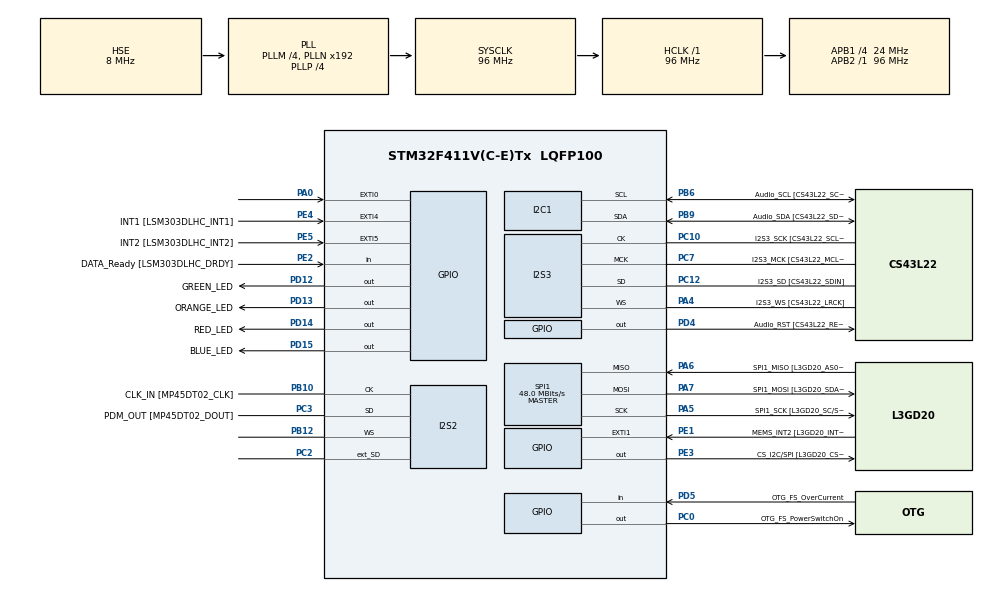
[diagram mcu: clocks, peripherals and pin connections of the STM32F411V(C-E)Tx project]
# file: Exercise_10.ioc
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FREERTOS.BinarySemaphores01=CriticalResourceSemaphore,Dynamic,NULL
FREERTOS.Tasks01=GREEN_LED,0,128,Start_GREEN_LED,Default,NULL,Dynamic,NULL,NULL;RED_LED,0,128,Start_RED_LED,Default,NULL,Dynamic,NULL,NULL;ORANGE_LED,1,128,Start_ORANGE_LED,Default,NULL,Dynamic,NULL,NULL
I2S2.AudioFreq=I2S_AUDIOFREQ_96K
I2S2.ErrorAudioFreq=0.15 %
I2S2.FullDuplexMode=I2S_FULLDUPLEXMODE_ENABLE
I2S2.Instance=SPI$Index
I2S2.RealAudioFreq=96.153 KHz
I2S2.VirtualMode=I2S_MODE_MASTER
I2S3.AudioFreq=I2S_AUDIOFREQ_96K
I2S3.ErrorAudioFreq=-6.99 %
I2S3.FullDuplexMode=I2S_FULLDUPLEXMODE_DISABLE
I2S3.Instance=SPI$Index
I2S3.RealAudioFreq=89.285 KHz
I2S3.VirtualMode=I2S_MODE_MASTER
Mcu.Family=STM32F4
Mcu.Name=STM32F411V(C-E)Tx
Mcu.Package=LQFP100
NVIC.PriorityGroup=NVIC_PRIORITYGROUP_4
NVIC.TIM1_UP_TIM10_IRQn=true\:0\:0\:false\:false\:true\:false\:false\:true
NVIC.TimeBase=TIM1_UP_TIM10_IRQn
NVIC.TimeBaseIP=TIM1
PA0-WKUP.GPIO_ModeDefaultEXTI=GPIO_MODE_EVT_RISING
PA0-WKUP.Signal=GPXTI0
PA10.GPIO_Label=OTG_FS_ID
PA10.Signal=USB_OTG_FS_ID
PA11.GPIO_Label=OTG_FS_DM
PA11.Signal=USB_OTG_FS_DM
PA12.GPIO_Label=OTG_FS_DP
PA12.Signal=USB_OTG_FS_DP
PA13.GPIO_Label=SWDIO
PA13.Mode=Serial_Wire
PA13.Signal=SYS_JTMS-SWDIO
PA14.GPIO_Label=SWCLK
PA14.Mode=Serial_Wire
PA14.Signal=SYS_JTCK-SWCLK
PA4.GPIO_Label=I2S3_WS [CS43L22_LRCK]
PA4.GPIO_Mode=GPIO_MODE_AF_PP
PA4.GPIO_PuPd=GPIO_NOPULL
PA4.GPIO_Speed=GPIO_SPEED_FREQ_LOW
PA4.Mode=Half_Duplex_Master
PA4.Signal=I2S3_WS
PA5.GPIO_Label=SPI1_SCK [L3GD20_SC/SPC]
PA5.Mode=Full_Duplex_Master
PA5.Signal=SPI1_SCK
PA6.GPIO_Label=SPI1_MISO [L3GD20_AS0/SDO]
PA6.Mode=Full_Duplex_Master
PA6.Signal=SPI1_MISO
PA7.GPIO_Label=SPI1_MOSI [L3GD20_SDA/SDI/SDO]
PA7.Mode=Full_Duplex_Master
PA7.Signal=SPI1_MOSI
PA9.GPIO_Label=VBUS_FS
PA9.Signal=USB_OTG_FS_VBUS
PB10.GPIO_Label=CLK_IN [MP45DT02_CLK]
PB10.Mode=Full_Duplex_Master
PB10.Signal=I2S2_CK
PB12.Mode=Full_Duplex_Master
PB12.Signal=I2S2_WS
PB3.GPIO_Label=SWO
PB3.Signal=SYS_JTDO-SWO
PB6.GPIO_Label=Audio_SCL [CS43L22_SCL]
PB6.GPIO_Mode=GPIO_MODE_AF_OD
PB6.GPIO_PuPd=GPIO_NOPULL
PB6.GPIO_Speed=GPIO_SPEED_FREQ_LOW
PB6.Mode=I2C
PB6.Signal=I2C1_SCL
PB9.GPIO_Label=Audio_SDA [CS43L22_SDA]
PB9.GPIO_Mode=GPIO_MODE_AF_OD
PB9.GPIO_PuPd=GPIO_NOPULL
PB9.GPIO_Speed=GPIO_SPEED_FREQ_LOW
PB9.Mode=I2C
PB9.Signal=I2C1_SDA
PC0.GPIO_Label=OTG_FS_PowerSwitchOn
PC0.PinState=GPIO_PIN_SET
PC0.Signal=GPIO_Output
PC10.GPIO_Label=I2S3_SCK [CS43L22_SCLK]
PC10.GPIO_Mode=GPIO_MODE_AF_PP
PC10.GPIO_PuPd=GPIO_NOPULL
PC10.GPIO_Speed=GPIO_SPEED_FREQ_LOW
PC10.Mode=Half_Duplex_Master
PC10.Signal=I2S3_CK
PC12.GPIO_Label=I2S3_SD [CS43L22_SDIN]
PC12.GPIO_Mode=GPIO_MODE_AF_PP
PC12.GPIO_PuPd=GPIO_NOPULL
PC12.GPIO_Speed=GPIO_SPEED_FREQ_LOW
PC12.Mode=Half_Duplex_Master
PC12.Signal=I2S3_SD
PC14-OSC32_IN.GPIO_Label=PC14-OSC32_IN
PC14-OSC32_IN.Mode=LSE-External-Oscillator
PC14-OSC32_IN.Signal=RCC_OSC32_IN
PC15-OSC32_OUT.GPIO_Label=PC15-OSC32_OUT
PC15-OSC32_OUT.Mode=LSE-External-Oscillator
PC15-OSC32_OUT.Signal=RCC_OSC32_OUT
PC2.Mode=Full_Duplex_Master
PC2.Signal=I2S2_ext_SD
PC3.GPIO_Label=PDM_OUT [MP45DT02_DOUT]
PC3.Mode=Full_Duplex_Master
PC3.Signal=I2S2_SD
PC7.GPIO_Label=I2S3_MCK [CS43L22_MCLK]
PC7.GPIO_Mode=GPIO_MODE_AF_PP
PC7.GPIO_PuPd=GPIO_NOPULL
PC7.GPIO_Speed=GPIO_SPEED_FREQ_LOW
PC7.Mode=Master_Clock_Activated
PC7.Signal=I2S3_MCK
PD12.GPIO_Label=GREEN_LED
PD12.GPIO_PuPd=GPIO_NOPULL
PD12.GPIO_Speed=GPIO_SPEED_FREQ_LOW
PD12.Signal=GPIO_Output
PD13.GPIO_Label=ORANGE_LED
PD13.GPIO_PuPd=GPIO_NOPULL
PD13.GPIO_Speed=GPIO_SPEED_FREQ_LOW
PD13.Signal=GPIO_Output
PD14.GPIO_Label=RED_LED
PD14.GPIO_PuPd=GPIO_NOPULL
PD14.GPIO_Speed=GPIO_SPEED_FREQ_LOW
PD14.Signal=GPIO_Output
PD15.GPIO_Label=BLUE_LED
PD15.GPIO_PuPd=GPIO_NOPULL
PD15.GPIO_Speed=GPIO_SPEED_FREQ_LOW
PD15.Signal=GPIO_Output
PD4.GPIO_Label=Audio_RST [CS43L22_RESET]
PD4.Signal=GPIO_Output
PD5.GPIO_Label=OTG_FS_OverCurrent
PD5.Signal=GPIO_Input
PE1.GPIO_Label=MEMS_INT2 [L3GD20_INT2]
PE1.GPIO_ModeDefaultEXTI=GPIO_MODE_EVT_RISING
PE1.Signal=GPXTI1
PE2.GPIO_Label=DATA_Ready [LSM303DLHC_DRDY]
PE2.Signal=GPIO_Input
PE3.GPIO_Label=CS_I2C/SPI [L3GD20_CS_I2C/SPI]
PE3.Signal=GPIO_Output
PE4.GPIO_Label=INT1 [LSM303DLHC_INT1]
PE4.GPIO_ModeDefaultEXTI=GPIO_MODE_EVT_RISING
PE4.Signal=GPXTI4
PE5.GPIO_Label=INT2 [LSM303DLHC_INT2]
PE5.GPIO_ModeDefaultEXTI=GPIO_MODE_EVT_RISING
PE5.Signal=GPXTI5
PH0\ -\ OSC_IN.GPIO_Label=PH0-OSC_IN
PH0\ -\ OSC_IN.Mode=HSE-External-Oscillator
PH0\ -\ OSC_IN.Signal=RCC_OSC_IN
PH1\ -\ OSC_OUT.GPIO_Label=PH1-OSC_OUT
PH1\ -\ OSC_OUT.Mode=HSE-External-Oscillator
PH1\ -\ OSC_OUT.Signal=RCC_OSC_OUT
ProjectManager.HeapSize=0x200
ProjectManager.StackSize=0x400
ProjectManager.TargetToolchain=STM32CubeIDE
RCC.48MHZClocksFreq_Value=48000000
RCC.AHBFreq_Value=96000000
RCC.APB1CLKDivider=RCC_HCLK_DIV4
RCC.APB1Freq_Value=24000000
RCC.APB1TimFreq_Value=48000000
RCC.APB2Freq_Value=96000000
RCC.APB2TimFreq_Value=96000000
RCC.CortexFreq_Value=96000000
RCC.HCLKFreq_Value=96000000
RCC.HSE_VALUE=8000000
RCC.HSI_VALUE=16000000
RCC.PLLI2SM=5
RCC.PLLI2SN=200
RCC.PLLM=4
RCC.PLLP=RCC_PLLP_DIV4
RCC.PLLQ=8
RCC.PLLSourceVirtual=RCC_PLLSOURCE_HSE
RCC.SYSCLKFreq_VALUE=96000000
RCC.SYSCLKSource=RCC_SYSCLKSOURCE_PLLCLK
RCC.VCOOutputFreq_Value=384000000
SPI1.BaudRatePrescaler=SPI_BAUDRATEPRESCALER_2
SPI1.CalculateBaudRate=48.0 MBits/s
SPI1.Direction=SPI_DIRECTION_2LINES
SPI1.Mode=SPI_MODE_MASTER
SPI1.VirtualType=VM_MASTER
VP_FREERTOS_VS_CMSIS_V1.Mode=CMSIS_V1
VP_SYS_VS_tim1.Mode=TIM1
board=STM32F411E-DISCO

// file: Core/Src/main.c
/* USER CODE BEGIN Header */
/**
  ******************************************************************************
  * @file           : main.c
  * @brief          : Main program body
  ******************************************************************************
  * @attention
  *
  * <h2><center>&copy; Copyright (c) 2024 STMicroelectronics.
  * All rights reserved.</center></h2>
  *
  * This software component is licensed by ST under Ultimate Liberty license
  * SLA0044, the "License"; You may not use this file except in compliance with
  * the License. You may obtain a copy of the License at:
  *                             www.st.com/SLA0044
  *
  ******************************************************************************
  */
/* USER CODE END Header */

#include "main.h"
#include "cmsis_os.h"

I2C_HandleTypeDef hi2c1;

I2S_HandleTypeDef hi2s2;
I2S_HandleTypeDef hi2s3;

SPI_HandleTypeDef hspi1;

osThreadId GREEN_LEDHandle;
osThreadId RED_LEDHandle;
osThreadId ORANGE_LEDHandle;
osSemaphoreId CriticalResourceSemaphoreHandle;

void SystemClock_Config(void);
static void MX_GPIO_Init(void);
static void MX_I2C1_Init(void);
static void MX_I2S2_Init(void);
static void MX_I2S3_Init(void);
static void MX_SPI1_Init(void);
void Start_GREEN_LED(void const * argument);
void Start_RED_LED(void const * argument);
void Start_ORANGE_LED(void const * argument);

/* USER CODE BEGIN PFP */
int Start_Flag = 1;
/* USER CODE END PFP */

/* USER CODE BEGIN 0 */
void accessFunction()
{
  osSemaphoreWait(CriticalResourceSemaphoreHandle, osWaitForever);
  if(Start_Flag == 1)
  {
	Start_Flag = 0;
  }
  else
  {
    HAL_GPIO_TogglePin(BLUE_LED_GPIO_Port, BLUE_LED_Pin);
//    HAL_GPIO_WritePin(GPIOD, BLUE_LED, GPIO_PIN_SET);
  }

  for(int i = 0; i < 2000000; i++);
  Start_Flag = 1;
  osSemaphoreRelease(CriticalResourceSemaphoreHandle);
  return;
}
/* USER CODE END 0 */

int main(void)
{

  /* MCU Configuration--------------------------------------------------------*/

  /* Reset of all peripherals, Initializes the Flash interface and the Systick. */
  HAL_Init();

  /* Configure the system clock */
  SystemClock_Config();

  /* Initialize all configured peripherals */
  MX_GPIO_Init();
  MX_I2C1_Init();
  MX_I2S2_Init();
  MX_I2S3_Init();
  MX_SPI1_Init();

  /* Create the semaphores(s) */
  /* definition and creation of CriticalResourceSemaphore */
  osSemaphoreDef(CriticalResourceSemaphore);
  CriticalResourceSemaphoreHandle = osSemaphoreCreate(osSemaphore(CriticalResourceSemaphore), 1);

  /* Create the thread(s) */
  /* definition and creation of GREEN_LED */
  osThreadDef(GREEN_LED, Start_GREEN_LED, osPriorityNormal, 0, 128);
  GREEN_LEDHandle = osThreadCreate(osThread(GREEN_LED), NULL);

  /* definition and creation of RED_LED */
  osThreadDef(RED_LED, Start_RED_LED, osPriorityNormal, 0, 128);
  RED_LEDHandle = osThreadCreate(osThread(RED_LED), NULL);

  /* definition and creation of ORANGE_LED */
  osThreadDef(ORANGE_LED, Start_ORANGE_LED, osPriorityAboveNormal, 0, 128);
  ORANGE_LEDHandle = osThreadCreate(osThread(ORANGE_LED), NULL);

  /* Start scheduler */
  osKernelStart();

  /* We should never get here as control is now taken by the scheduler */

  /* Infinite loop */
  while (1)
  {

  }
}

void SystemClock_Config(void)
{
  RCC_OscInitTypeDef RCC_OscInitStruct = {0};
  RCC_ClkInitTypeDef RCC_ClkInitStruct = {0};
  RCC_PeriphCLKInitTypeDef PeriphClkInitStruct = {0};

  /** Configure the main internal regulator output voltage
  */
  __HAL_RCC_PWR_CLK_ENABLE();
  __HAL_PWR_VOLTAGESCALING_CONFIG(PWR_REGULATOR_VOLTAGE_SCALE1);
  /** Initializes the CPU, AHB and APB busses clocks
  */
  RCC_OscInitStruct.OscillatorType = RCC_OSCILLATORTYPE_HSE;
  RCC_OscInitStruct.HSEState = RCC_HSE_ON;
  RCC_OscInitStruct.PLL.PLLState = RCC_PLL_ON;
  RCC_OscInitStruct.PLL.PLLSource = RCC_PLLSOURCE_HSE;
  RCC_OscInitStruct.PLL.PLLM = 4;
  RCC_OscInitStruct.PLL.PLLN = 192;
  RCC_OscInitStruct.PLL.PLLP = RCC_PLLP_DIV4;
  RCC_OscInitStruct.PLL.PLLQ = 8;
  if (HAL_RCC_OscConfig(&RCC_OscInitStruct) != HAL_OK)
  {
    Error_Handler();
  }
  /** Initializes the CPU, AHB and APB busses clocks
  */
  RCC_ClkInitStruct.ClockType = RCC_CLOCKTYPE_HCLK|RCC_CLOCKTYPE_SYSCLK
                              |RCC_CLOCKTYPE_PCLK1|RCC_CLOCKTYPE_PCLK2;
  RCC_ClkInitStruct.SYSCLKSource = RCC_SYSCLKSOURCE_PLLCLK;
  RCC_ClkInitStruct.AHBCLKDivider = RCC_SYSCLK_DIV1;
  RCC_ClkInitStruct.APB1CLKDivider = RCC_HCLK_DIV4;
  RCC_ClkInitStruct.APB2CLKDivider = RCC_HCLK_DIV1;

  if (HAL_RCC_ClockConfig(&RCC_ClkInitStruct, FLASH_LATENCY_3) != HAL_OK)
  {
    Error_Handler();
  }
  PeriphClkInitStruct.PeriphClockSelection = RCC_PERIPHCLK_I2S;
  PeriphClkInitStruct.PLLI2S.PLLI2SN = 200;
  PeriphClkInitStruct.PLLI2S.PLLI2SM = 5;
  PeriphClkInitStruct.PLLI2S.PLLI2SR = 2;
  if (HAL_RCCEx_PeriphCLKConfig(&PeriphClkInitStruct) != HAL_OK)
  {
    Error_Handler();
  }
}

static void MX_I2C1_Init(void)
{

  hi2c1.Instance = I2C1;
  hi2c1.Init.ClockSpeed = 100000;
  hi2c1.Init.DutyCycle = I2C_DUTYCYCLE_2;
  hi2c1.Init.OwnAddress1 = 0;
  hi2c1.Init.AddressingMode = I2C_ADDRESSINGMODE_7BIT;
  hi2c1.Init.DualAddressMode = I2C_DUALADDRESS_DISABLE;
  hi2c1.Init.OwnAddress2 = 0;
  hi2c1.Init.GeneralCallMode = I2C_GENERALCALL_DISABLE;
  hi2c1.Init.NoStretchMode = I2C_NOSTRETCH_DISABLE;
  if (HAL_I2C_Init(&hi2c1) != HAL_OK)
  {
    Error_Handler();
  }

}

static void MX_I2S2_Init(void)
{

  hi2s2.Instance = SPI2;
  hi2s2.Init.Mode = I2S_MODE_MASTER_TX;
  hi2s2.Init.Standard = I2S_STANDARD_PHILIPS;
  hi2s2.Init.DataFormat = I2S_DATAFORMAT_16B;
  hi2s2.Init.MCLKOutput = I2S_MCLKOUTPUT_DISABLE;
  hi2s2.Init.AudioFreq = I2S_AUDIOFREQ_96K;
  hi2s2.Init.CPOL = I2S_CPOL_LOW;
  hi2s2.Init.ClockSource = I2S_CLOCK_PLL;
  hi2s2.Init.FullDuplexMode = I2S_FULLDUPLEXMODE_ENABLE;
  if (HAL_I2S_Init(&hi2s2) != HAL_OK)
  {
    Error_Handler();
  }

}

static void MX_I2S3_Init(void)
{

  hi2s3.Instance = SPI3;
  hi2s3.Init.Mode = I2S_MODE_MASTER_TX;
  hi2s3.Init.Standard = I2S_STANDARD_PHILIPS;
  hi2s3.Init.DataFormat = I2S_DATAFORMAT_16B;
  hi2s3.Init.MCLKOutput = I2S_MCLKOUTPUT_ENABLE;
  hi2s3.Init.AudioFreq = I2S_AUDIOFREQ_96K;
  hi2s3.Init.CPOL = I2S_CPOL_LOW;
  hi2s3.Init.ClockSource = I2S_CLOCK_PLL;
  hi2s3.Init.FullDuplexMode = I2S_FULLDUPLEXMODE_DISABLE;
  if (HAL_I2S_Init(&hi2s3) != HAL_OK)
  {
    Error_Handler();
  }

}

static void MX_SPI1_Init(void)
{

  /* SPI1 parameter configuration*/
  hspi1.Instance = SPI1;
  hspi1.Init.Mode = SPI_MODE_MASTER;
  hspi1.Init.Direction = SPI_DIRECTION_2LINES;
  hspi1.Init.DataSize = SPI_DATASIZE_8BIT;
  hspi1.Init.CLKPolarity = SPI_POLARITY_LOW;
  hspi1.Init.CLKPhase = SPI_PHASE_1EDGE;
  hspi1.Init.NSS = SPI_NSS_SOFT;
  hspi1.Init.BaudRatePrescaler = SPI_BAUDRATEPRESCALER_2;
  hspi1.Init.FirstBit = SPI_FIRSTBIT_MSB;
  hspi1.Init.TIMode = SPI_TIMODE_DISABLE;
  hspi1.Init.CRCCalculation = SPI_CRCCALCULATION_DISABLE;
  hspi1.Init.CRCPolynomial = 10;
  if (HAL_SPI_Init(&hspi1) != HAL_OK)
  {
    Error_Handler();
  }

}

static void MX_GPIO_Init(void)
{
  GPIO_InitTypeDef GPIO_InitStruct = {0};

  /* GPIO Ports Clock Enable */
  __HAL_RCC_GPIOE_CLK_ENABLE();
  __HAL_RCC_GPIOC_CLK_ENABLE();
  __HAL_RCC_GPIOH_CLK_ENABLE();
  __HAL_RCC_GPIOA_CLK_ENABLE();
  __HAL_RCC_GPIOB_CLK_ENABLE();
  __HAL_RCC_GPIOD_CLK_ENABLE();

  /*Configure GPIO pin Output Level */
  HAL_GPIO_WritePin(CS_I2C_SPI_GPIO_Port, CS_I2C_SPI_Pin, GPIO_PIN_RESET);

  /*Configure GPIO pin Output Level */
  HAL_GPIO_WritePin(OTG_FS_PowerSwitchOn_GPIO_Port, OTG_FS_PowerSwitchOn_Pin, GPIO_PIN_SET);

  /*Configure GPIO pin Output Level */
  HAL_GPIO_WritePin(GPIOD, GREEN_LED_Pin|ORANGE_LED_Pin|RED_LED_Pin|BLUE_LED_Pin
                          |Audio_RST_Pin, GPIO_PIN_RESET);

  /*Configure GPIO pin : DATA_Ready_Pin */
  GPIO_InitStruct.Pin = DATA_Ready_Pin;
  GPIO_InitStruct.Mode = GPIO_MODE_INPUT;
  GPIO_InitStruct.Pull = GPIO_NOPULL;
  HAL_GPIO_Init(DATA_Ready_GPIO_Port, &GPIO_InitStruct);

  /*Configure GPIO pin : CS_I2C_SPI_Pin */
  GPIO_InitStruct.Pin = CS_I2C_SPI_Pin;
  GPIO_InitStruct.Mode = GPIO_MODE_OUTPUT_PP;
  GPIO_InitStruct.Pull = GPIO_NOPULL;
  GPIO_InitStruct.Speed = GPIO_SPEED_FREQ_LOW;
  HAL_GPIO_Init(CS_I2C_SPI_GPIO_Port, &GPIO_InitStruct);

  /*Configure GPIO pins : INT1_Pin INT2_Pin MEMS_INT2_Pin */
  GPIO_InitStruct.Pin = INT1_Pin|INT2_Pin|MEMS_INT2_Pin;
  GPIO_InitStruct.Mode = GPIO_MODE_EVT_RISING;
  GPIO_InitStruct.Pull = GPIO_NOPULL;
  HAL_GPIO_Init(GPIOE, &GPIO_InitStruct);

  /*Configure GPIO pin : OTG_FS_PowerSwitchOn_Pin */
  GPIO_InitStruct.Pin = OTG_FS_PowerSwitchOn_Pin;
  GPIO_InitStruct.Mode = GPIO_MODE_OUTPUT_PP;
  GPIO_InitStruct.Pull = GPIO_NOPULL;
  GPIO_InitStruct.Speed = GPIO_SPEED_FREQ_LOW;
  HAL_GPIO_Init(OTG_FS_PowerSwitchOn_GPIO_Port, &GPIO_InitStruct);

  /*Configure GPIO pin : PA0 */
  GPIO_InitStruct.Pin = GPIO_PIN_0;
  GPIO_InitStruct.Mode = GPIO_MODE_EVT_RISING;
  GPIO_InitStruct.Pull = GPIO_NOPULL;
  HAL_GPIO_Init(GPIOA, &GPIO_InitStruct);

  /*Configure GPIO pins : GREEN_LED_Pin ORANGE_LED_Pin RED_LED_Pin BLUE_LED_Pin
                           Audio_RST_Pin */
  GPIO_InitStruct.Pin = GREEN_LED_Pin|ORANGE_LED_Pin|RED_LED_Pin|BLUE_LED_Pin
                          |Audio_RST_Pin;
  GPIO_InitStruct.Mode = GPIO_MODE_OUTPUT_PP;
  GPIO_InitStruct.Pull = GPIO_NOPULL;
  GPIO_InitStruct.Speed = GPIO_SPEED_FREQ_LOW;
  HAL_GPIO_Init(GPIOD, &GPIO_InitStruct);

  /*Configure GPIO pin : VBUS_FS_Pin */
  GPIO_InitStruct.Pin = VBUS_FS_Pin;
  GPIO_InitStruct.Mode = GPIO_MODE_INPUT;
  GPIO_InitStruct.Pull = GPIO_NOPULL;
  HAL_GPIO_Init(VBUS_FS_GPIO_Port, &GPIO_InitStruct);

  /*Configure GPIO pins : OTG_FS_ID_Pin OTG_FS_DM_Pin OTG_FS_DP_Pin */
  GPIO_InitStruct.Pin = OTG_FS_ID_Pin|OTG_FS_DM_Pin|OTG_FS_DP_Pin;
  GPIO_InitStruct.Mode = GPIO_MODE_AF_PP;
  GPIO_InitStruct.Pull = GPIO_NOPULL;
  GPIO_InitStruct.Speed = GPIO_SPEED_FREQ_VERY_HIGH;
  GPIO_InitStruct.Alternate = GPIO_AF10_OTG_FS;
  HAL_GPIO_Init(GPIOA, &GPIO_InitStruct);

  /*Configure GPIO pin : OTG_FS_OverCurrent_Pin */
  GPIO_InitStruct.Pin = OTG_FS_OverCurrent_Pin;
  GPIO_InitStruct.Mode = GPIO_MODE_INPUT;
  GPIO_InitStruct.Pull = GPIO_NOPULL;
  HAL_GPIO_Init(OTG_FS_OverCurrent_GPIO_Port, &GPIO_InitStruct);

}

void Start_GREEN_LED(void const * argument)
{
  /* USER CODE BEGIN 5 */
  /* Infinite loop */
  for(;;)
  {
    HAL_GPIO_TogglePin(GREEN_LED_GPIO_Port, GREEN_LED_Pin);
	accessFunction();
    osDelay(200);
    HAL_GPIO_TogglePin(GREEN_LED_GPIO_Port, GREEN_LED_Pin);
	osDelay(200);
  }
  /* USER CODE END 5 */
}

void Start_RED_LED(void const * argument)
{
  /* USER CODE BEGIN Start_RED_LED */
  /* Infinite loop */
  for(;;)
  {
	HAL_GPIO_TogglePin(RED_LED_GPIO_Port, RED_LED_Pin);
    accessFunction();
    osDelay(550);
    HAL_GPIO_TogglePin(RED_LED_GPIO_Port, RED_LED_Pin);
    osDelay(550);
  }
  /* USER CODE END Start_RED_LED */
}

void Start_ORANGE_LED(void const * argument)
{
  /* USER CODE BEGIN Start_ORANGE_LED */
  /* Infinite loop */
  for(;;)
  {
	HAL_GPIO_TogglePin(ORANGE_LED_GPIO_Port,ORANGE_LED_Pin);
	osDelay(50);
  }
  /* USER CODE END Start_ORANGE_LED */
}

void HAL_TIM_PeriodElapsedCallback(TIM_HandleTypeDef *htim)
{
  if (htim->Instance == TIM1) {
    HAL_IncTick();
  }
}

void Error_Handler(void)
{
}

/************************ (C) COPYRIGHT STMicroelectronics *****END OF FILE****/
